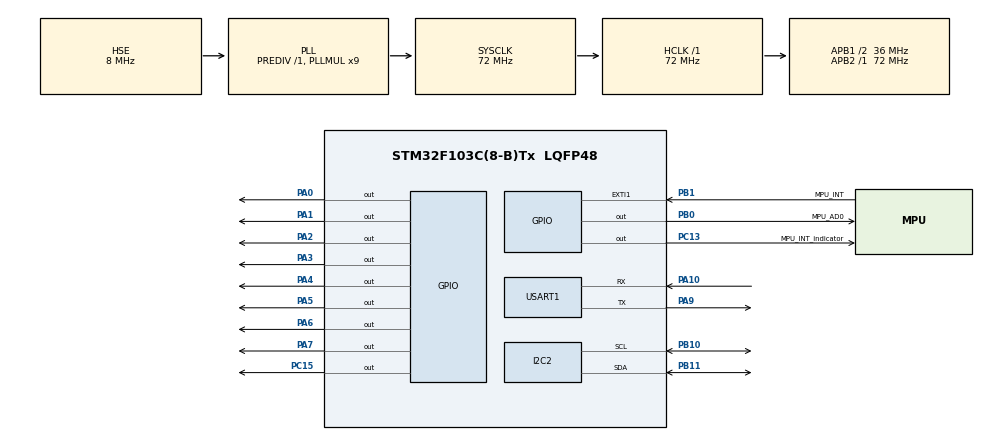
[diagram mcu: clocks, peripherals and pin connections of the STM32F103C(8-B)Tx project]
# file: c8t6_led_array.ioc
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I2C2.I2C_Mode=I2C_Fast
Mcu.Family=STM32F1
Mcu.Name=STM32F103C(8-B)Tx
Mcu.Package=LQFP48
NVIC.EXTI1_IRQn=true\:0\:0\:false\:false\:true\:true\:true\:true
NVIC.I2C2_ER_IRQn=true\:0\:0\:false\:false\:true\:true\:true\:true
NVIC.I2C2_EV_IRQn=true\:0\:0\:false\:false\:true\:true\:true\:true
NVIC.PriorityGroup=NVIC_PRIORITYGROUP_4
NVIC.TIM4_IRQn=true\:1\:0\:true\:false\:true\:true\:true\:true
PA0-WKUP.Signal=GPIO_Output
PA1.Signal=GPIO_Output
PA10.Mode=Asynchronous
PA10.Signal=USART1_RX
PA13.Mode=Serial_Wire
PA13.Signal=SYS_JTMS-SWDIO
PA14.Mode=Serial_Wire
PA14.Signal=SYS_JTCK-SWCLK
PA2.Signal=GPIO_Output
PA3.Signal=GPIO_Output
PA4.Signal=GPIO_Output
PA5.Signal=GPIO_Output
PA6.Signal=GPIO_Output
PA7.Signal=GPIO_Output
PA9.Mode=Asynchronous
PA9.Signal=USART1_TX
PB0.GPIO_Label=MPU_AD0
PB0.Signal=GPIO_Output
PB1.GPIO_Label=MPU_INT
PB1.GPIO_ModeDefaultEXTI=GPIO_MODE_IT_FALLING
PB1.GPIO_PuPd=GPIO_PULLUP
PB1.Signal=GPXTI1
PB10.Mode=I2C
PB10.Signal=I2C2_SCL
PB11.Mode=I2C
PB11.Signal=I2C2_SDA
PC13-TAMPER-RTC.GPIO_Label=MPU_INT_indicator
PC13-TAMPER-RTC.Signal=GPIO_Output
PC15-OSC32_OUT.Signal=GPIO_Output
PD0-OSC_IN.Mode=HSE-External-Oscillator
PD0-OSC_IN.Signal=RCC_OSC_IN
PD1-OSC_OUT.Mode=HSE-External-Oscillator
PD1-OSC_OUT.Signal=RCC_OSC_OUT
ProjectManager.HeapSize=0x200
ProjectManager.StackSize=0x400
ProjectManager.TargetToolchain=MDK-ARM V5.32
RCC.AHBFreq_Value=72000000
RCC.APB1CLKDivider=RCC_HCLK_DIV2
RCC.APB1Freq_Value=36000000
RCC.APB1TimFreq_Value=72000000
RCC.APB2Freq_Value=72000000
RCC.APB2TimFreq_Value=72000000
RCC.HCLKFreq_Value=72000000
RCC.PLLMUL=RCC_PLL_MUL9
RCC.PLLSourceVirtual=RCC_PLLSOURCE_HSE
RCC.SYSCLKFreq_VALUE=72000000
RCC.SYSCLKSource=RCC_SYSCLKSOURCE_PLLCLK
RCC.USBFreq_Value=72000000
TIM4.AutoReloadPreload=TIM_AUTORELOAD_PRELOAD_ENABLE
TIM4.Period=499
TIM4.Prescaler=35
USART1.VirtualMode=VM_ASYNC
VP_TIM4_VS_ClockSourceINT.Mode=Internal
board=custom

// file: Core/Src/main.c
/* USER CODE BEGIN Header */
/**
  ******************************************************************************
  * @file           : main.c
  * @brief          : Main program body
  ******************************************************************************
  * @attention
  *
  * Copyright (c) 2022 STMicroelectronics.
  * All rights reserved.
  *
  * This software is licensed under terms that can be found in the LICENSE file
  * in the root directory of this software component.
  * If no LICENSE file comes with this software, it is provided AS-IS.
  *
  ******************************************************************************
  */
/* USER CODE END Header */
#include "main.h"

/* USER CODE BEGIN PM */

#define VALUE_NEGATIVE (0)
#define VALUE_POSITIVE (1)

/* USER CODE END PM */

I2C_HandleTypeDef hi2c2;

TIM_HandleTypeDef htim4;

UART_HandleTypeDef huart1;

/* USER CODE BEGIN PV */

MPU_HandleTypeDef hmpu;
MPU_DataTypeDef mpu_data;

__IO uint32_t half_period;
__IO uint8_t  display_direction;

const uint8_t led_frames[] =
{
  CHAR_SPACE,
  CHAR_F,
  0x00,
  CHAR_U,
  0x00,
  CHAR_C,
  0x00,
  CHAR_K,
  CHAR_SPACE,
};
const uint8_t *p_current_frame = led_frames;

const uint16_t frame_count = sizeof(led_frames);

/* USER CODE END PV */

void SystemClock_Config(void);
static void MX_GPIO_Init(void);
static void MX_TIM4_Init(void);
static void MX_USART1_UART_Init(void);
static void MX_I2C2_Init(void);
/* USER CODE BEGIN PFP */

static void MPU_Init(void);

/* USER CODE END PFP */

int main(void)
{

  /* MCU Configuration--------------------------------------------------------*/

  /* Reset of all peripherals, Initializes the Flash interface and the Systick. */
  HAL_Init();

  /* Configure the system clock */
  SystemClock_Config();

  /* USER CODE BEGIN SysInit */
  p_current_frame = led_frames;
  /* USER CODE END SysInit */

  /* Initialize all configured peripherals */
  MX_GPIO_Init();
  MX_TIM4_Init();
  MX_USART1_UART_Init();
  MX_I2C2_Init();
  /* USER CODE BEGIN 2 */
	const uint16_t led_pin_mask_all = GPIO_PIN_0 | GPIO_PIN_1 | GPIO_PIN_2 | GPIO_PIN_3 | GPIO_PIN_4 | GPIO_PIN_5 | GPIO_PIN_6 | GPIO_PIN_7;
  HAL_GPIO_WritePin(GPIOC, GPIO_PIN_15, GPIO_PIN_SET);
  HAL_GPIO_WritePin(GPIOA, led_pin_mask_all, GPIO_PIN_SET);

  MPU_Init();
  HAL_MPU6050_SetLPF(&hmpu, 20);

  __HAL_TIM_CLEAR_IT(&htim4, TIM_IT_UPDATE);
  HAL_TIM_Base_Start_IT(&htim4);
  /* USER CODE END 2 */

  /* Infinite loop */
  /* USER CODE BEGIN WHILE */
  while (1)
  {
    for(int j = 0; j < 8; j++)
    {
      HAL_GPIO_WritePin(GPIOA, led_pin_mask_all, GPIO_PIN_SET);
      HAL_GPIO_WritePin(GPIOA, 1 << j, BIT_IN_VAL(~*p_current_frame, j));
    }
    /* USER CODE END WHILE */

  }
}

void SystemClock_Config(void)
{
  RCC_OscInitTypeDef RCC_OscInitStruct = {0};
  RCC_ClkInitTypeDef RCC_ClkInitStruct = {0};

  /** Initializes the RCC Oscillators according to the specified parameters
  * in the RCC_OscInitTypeDef structure.
  */
  RCC_OscInitStruct.OscillatorType = RCC_OSCILLATORTYPE_HSE;
  RCC_OscInitStruct.HSEState = RCC_HSE_ON;
  RCC_OscInitStruct.HSEPredivValue = RCC_HSE_PREDIV_DIV1;
  RCC_OscInitStruct.HSIState = RCC_HSI_ON;
  RCC_OscInitStruct.PLL.PLLState = RCC_PLL_ON;
  RCC_OscInitStruct.PLL.PLLSource = RCC_PLLSOURCE_HSE;
  RCC_OscInitStruct.PLL.PLLMUL = RCC_PLL_MUL9;
  if (HAL_RCC_OscConfig(&RCC_OscInitStruct) != HAL_OK)
  {
    Error_Handler();
  }

  /** Initializes the CPU, AHB and APB buses clocks
  */
  RCC_ClkInitStruct.ClockType = RCC_CLOCKTYPE_HCLK|RCC_CLOCKTYPE_SYSCLK
                              |RCC_CLOCKTYPE_PCLK1|RCC_CLOCKTYPE_PCLK2;
  RCC_ClkInitStruct.SYSCLKSource = RCC_SYSCLKSOURCE_PLLCLK;
  RCC_ClkInitStruct.AHBCLKDivider = RCC_SYSCLK_DIV1;
  RCC_ClkInitStruct.APB1CLKDivider = RCC_HCLK_DIV2;
  RCC_ClkInitStruct.APB2CLKDivider = RCC_HCLK_DIV1;

  if (HAL_RCC_ClockConfig(&RCC_ClkInitStruct, FLASH_LATENCY_2) != HAL_OK)
  {
    Error_Handler();
  }
}

static void MX_I2C2_Init(void)
{

  hi2c2.Instance = I2C2;
  hi2c2.Init.ClockSpeed = 400000;
  hi2c2.Init.DutyCycle = I2C_DUTYCYCLE_2;
  hi2c2.Init.OwnAddress1 = 0;
  hi2c2.Init.AddressingMode = I2C_ADDRESSINGMODE_7BIT;
  hi2c2.Init.DualAddressMode = I2C_DUALADDRESS_DISABLE;
  hi2c2.Init.OwnAddress2 = 0;
  hi2c2.Init.GeneralCallMode = I2C_GENERALCALL_DISABLE;
  hi2c2.Init.NoStretchMode = I2C_NOSTRETCH_DISABLE;
  if (HAL_I2C_Init(&hi2c2) != HAL_OK)
  {
    Error_Handler();
  }

}

static void MX_TIM4_Init(void)
{

  TIM_ClockConfigTypeDef sClockSourceConfig = {0};
  TIM_MasterConfigTypeDef sMasterConfig = {0};

  htim4.Instance = TIM4;
  htim4.Init.Prescaler = 35;
  htim4.Init.CounterMode = TIM_COUNTERMODE_UP;
  htim4.Init.Period = 499;
  htim4.Init.ClockDivision = TIM_CLOCKDIVISION_DIV1;
  htim4.Init.AutoReloadPreload = TIM_AUTORELOAD_PRELOAD_ENABLE;
  if (HAL_TIM_Base_Init(&htim4) != HAL_OK)
  {
    Error_Handler();
  }
  sClockSourceConfig.ClockSource = TIM_CLOCKSOURCE_INTERNAL;
  if (HAL_TIM_ConfigClockSource(&htim4, &sClockSourceConfig) != HAL_OK)
  {
    Error_Handler();
  }
  sMasterConfig.MasterOutputTrigger = TIM_TRGO_RESET;
  sMasterConfig.MasterSlaveMode = TIM_MASTERSLAVEMODE_DISABLE;
  if (HAL_TIMEx_MasterConfigSynchronization(&htim4, &sMasterConfig) != HAL_OK)
  {
    Error_Handler();
  }

}

static void MX_USART1_UART_Init(void)
{

  huart1.Instance = USART1;
  huart1.Init.BaudRate = 115200;
  huart1.Init.WordLength = UART_WORDLENGTH_8B;
  huart1.Init.StopBits = UART_STOPBITS_1;
  huart1.Init.Parity = UART_PARITY_NONE;
  huart1.Init.Mode = UART_MODE_TX_RX;
  huart1.Init.HwFlowCtl = UART_HWCONTROL_NONE;
  huart1.Init.OverSampling = UART_OVERSAMPLING_16;
  if (HAL_UART_Init(&huart1) != HAL_OK)
  {
    Error_Handler();
  }

}

static void MX_GPIO_Init(void)
{
  GPIO_InitTypeDef GPIO_InitStruct = {0};

  /* GPIO Ports Clock Enable */
  __HAL_RCC_GPIOC_CLK_ENABLE();
  __HAL_RCC_GPIOD_CLK_ENABLE();
  __HAL_RCC_GPIOA_CLK_ENABLE();
  __HAL_RCC_GPIOB_CLK_ENABLE();

  /*Configure GPIO pin Output Level */
  HAL_GPIO_WritePin(GPIOC, MPU_INT_indicator_Pin|GPIO_PIN_15, GPIO_PIN_RESET);

  /*Configure GPIO pin Output Level */
  HAL_GPIO_WritePin(GPIOA, GPIO_PIN_0|GPIO_PIN_1|GPIO_PIN_2|GPIO_PIN_3
                          |GPIO_PIN_4|GPIO_PIN_5|GPIO_PIN_6|GPIO_PIN_7, GPIO_PIN_RESET);

  /*Configure GPIO pin Output Level */
  HAL_GPIO_WritePin(MPU_AD0_GPIO_Port, MPU_AD0_Pin, GPIO_PIN_RESET);

  /*Configure GPIO pins : MPU_INT_indicator_Pin PC15 */
  GPIO_InitStruct.Pin = MPU_INT_indicator_Pin|GPIO_PIN_15;
  GPIO_InitStruct.Mode = GPIO_MODE_OUTPUT_PP;
  GPIO_InitStruct.Pull = GPIO_NOPULL;
  GPIO_InitStruct.Speed = GPIO_SPEED_FREQ_LOW;
  HAL_GPIO_Init(GPIOC, &GPIO_InitStruct);

  /*Configure GPIO pins : PA0 PA1 PA2 PA3
                           PA4 PA5 PA6 PA7 */
  GPIO_InitStruct.Pin = GPIO_PIN_0|GPIO_PIN_1|GPIO_PIN_2|GPIO_PIN_3
                          |GPIO_PIN_4|GPIO_PIN_5|GPIO_PIN_6|GPIO_PIN_7;
  GPIO_InitStruct.Mode = GPIO_MODE_OUTPUT_PP;
  GPIO_InitStruct.Pull = GPIO_NOPULL;
  GPIO_InitStruct.Speed = GPIO_SPEED_FREQ_LOW;
  HAL_GPIO_Init(GPIOA, &GPIO_InitStruct);

  /*Configure GPIO pin : MPU_AD0_Pin */
  GPIO_InitStruct.Pin = MPU_AD0_Pin;
  GPIO_InitStruct.Mode = GPIO_MODE_OUTPUT_PP;
  GPIO_InitStruct.Pull = GPIO_NOPULL;
  GPIO_InitStruct.Speed = GPIO_SPEED_FREQ_LOW;
  HAL_GPIO_Init(MPU_AD0_GPIO_Port, &GPIO_InitStruct);

  /*Configure GPIO pin : MPU_INT_Pin */
  GPIO_InitStruct.Pin = MPU_INT_Pin;
  GPIO_InitStruct.Mode = GPIO_MODE_IT_FALLING;
  GPIO_InitStruct.Pull = GPIO_PULLUP;
  HAL_GPIO_Init(MPU_INT_GPIO_Port, &GPIO_InitStruct);

  /* EXTI interrupt init*/
  HAL_NVIC_SetPriority(EXTI1_IRQn, 0, 0);
  HAL_NVIC_EnableIRQ(EXTI1_IRQn);

}

/* USER CODE BEGIN 4 */

/**
  * @brief MPU6050 Initialization Function
  * @param None
  * @retval None
  */
void MPU_Init()
{
  hmpu.hi2c = &hi2c2;

  hmpu.AD0_GPIO = GPIOB;
  hmpu.AD0_Pin = GPIO_PIN_0;
  hmpu.AD0_State = 0;

  hmpu.INT_GPIO = GPIOB;
  hmpu.INT_Pin = GPIO_PIN_1;

  hmpu.GyroFullScale = MPU_GYRO_FS_1000;
  hmpu.AcceFullScale = MPU_ACCE_FS_16G;

  hmpu.SamplingRate = 1000;

  HAL_MPU6050_Init(&hmpu);
}

/**
  * @brief  EXTI line detection callbacks.
  * @param  GPIO_Pin: Specifies the pins connected EXTI line
  * @retval None
  */
void HAL_GPIO_EXTI_Callback(uint16_t GPIO_Pin)
{
  switch (GPIO_Pin)
  {
  case GPIO_PIN_1:
    HAL_MPU6050_INT_Handler(&hmpu, &mpu_data);
    break;

  default:
    break;
  }
}

HAL_StatusTypeDef HAL_MPU6050_INT_Callback(MPU_HandleTypeDef *hmpu, MPU_DataTypeDef *pData)
{
  HAL_GPIO_WritePin(MPU_INT_indicator_GPIO_Port, MPU_INT_indicator_Pin, GPIO_PIN_RESET);
  static uint32_t last_timestamp = 0;
  static uint8_t last_sign = VALUE_NEGATIVE;

  // get this data
  int16_t *watch_channel = &pData->GyroZRaw;
  int16_t last_value = *watch_channel;
  HAL_ValidOperation(HAL_MPU6050_ReadGyro_Raw, hmpu, pData);

  // depend this sign
  uint8_t sign = 0;
  if(0 == *watch_channel)
    sign = last_sign;
  else
    sign = *watch_channel > 0 ? VALUE_POSITIVE : VALUE_NEGATIVE;

  // calculate period
  if(sign != last_sign) {
    uint32_t timestamp = HAL_GetTick();
    half_period = (timestamp - last_timestamp + half_period) / 2;
    last_timestamp = timestamp;
    last_sign = sign;
    display_direction = sign;

    // calculate timer period
    uint32_t arr = HAL_RCC_GetPCLK2Freq() / (htim4.Init.Prescaler + 1) / (HAL_GetTickFreq() * 1000) * half_period / (frame_count);

    // reset current frame
    // p_current_frame = display_direction ? led_frames : led_frames + frame_count - 1;

    // reload timer
    __HAL_TIM_SET_AUTORELOAD(&htim4, arr);
  }

  // print result
  // static uint8_t buf_val_hex[1 << 8];
  // sprintf((char *)buf_val_hex, "samples: %d,%d\n", *watch_channel, half_period);
  // HAL_UART_Transmit(&huart1, buf_val_hex, strlen((char *)buf_val_hex), 1000);

  HAL_GPIO_WritePin(MPU_INT_indicator_GPIO_Port, MPU_INT_indicator_Pin, GPIO_PIN_SET);
  return HAL_OK;
}

/**
  * @brief  Period elapsed callback in non-blocking mode
  * @param  htim TIM handle
  * @retval None
  */
void HAL_TIM_PeriodElapsedCallback(TIM_HandleTypeDef *htim)
{
  /* Prevent unused argument(s) compilation warning */
  // UNUSED(htim);

  /* NOTE : This function should not be modified, when the callback is needed,
            the HAL_TIM_PeriodElapsedCallback could be implemented in the user file
   */
  if(htim == &htim4)
  {
    switch (display_direction)
    {
    case VALUE_NEGATIVE:
      p_current_frame--;
      if(p_current_frame == (led_frames - 1))
        p_current_frame = led_frames + sizeof(led_frames) - 1;
      break;
    case VALUE_POSITIVE:
      p_current_frame++;
      if(p_current_frame == led_frames + sizeof(led_frames))
        p_current_frame = led_frames;
      break;
    default:
      break;
    }
  }
}

/* USER CODE END 4 */

void Error_Handler(void)
{
  __disable_irq();
  while (1)
  {
  }
}
